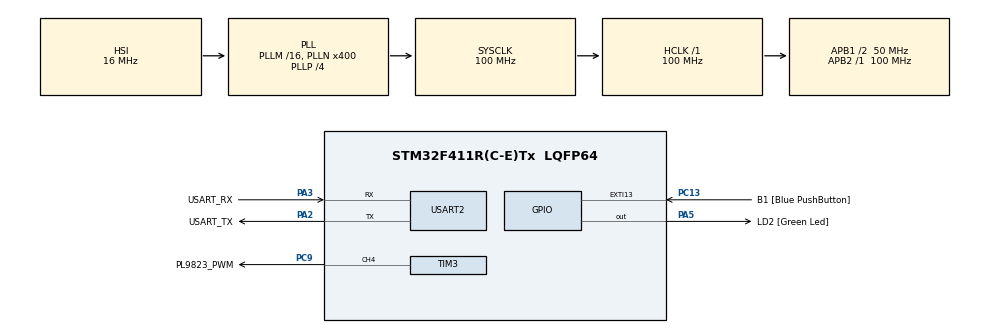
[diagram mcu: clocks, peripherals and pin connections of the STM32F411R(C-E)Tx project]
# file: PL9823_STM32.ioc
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Dma.Request0=TIM3_CH4/UP
Dma.TIM3_CH4/UP.0.Direction=DMA_MEMORY_TO_PERIPH
Dma.TIM3_CH4/UP.0.FIFOMode=DMA_FIFOMODE_DISABLE
Dma.TIM3_CH4/UP.0.Instance=DMA1_Stream2
Dma.TIM3_CH4/UP.0.MemDataAlignment=DMA_MDATAALIGN_HALFWORD
Dma.TIM3_CH4/UP.0.MemInc=DMA_MINC_ENABLE
Dma.TIM3_CH4/UP.0.Mode=DMA_NORMAL
Dma.TIM3_CH4/UP.0.PeriphDataAlignment=DMA_PDATAALIGN_HALFWORD
Dma.TIM3_CH4/UP.0.PeriphInc=DMA_PINC_DISABLE
Dma.TIM3_CH4/UP.0.Priority=DMA_PRIORITY_MEDIUM
Mcu.Family=STM32F4
Mcu.Name=STM32F411R(C-E)Tx
Mcu.Package=LQFP64
Mcu.UserConstants=PL9823_TIM_Clock,100000000;PL9823_T0H,0.00000035;PL9823_T1H,0.00000136;PL9823_RESET_TIME,0.000050;PL9823_PWM_PERIOD,(PL9823_TIM_Clock*(PL9823_T0H+PL9823_T1H))
NVIC.DMA1_Stream2_IRQn=true\:0\:0\:false\:false\:true
NVIC.PriorityGroup=NVIC_PRIORITYGROUP_0
PA13.GPIO_Label=TMS
PA13.Signal=SYS_JTMS-SWDIO
PA14.GPIO_Label=TCK
PA14.Signal=SYS_JTCK-SWCLK
PA2.GPIO_Label=USART_TX
PA2.Mode=Asynchronous
PA2.Signal=USART2_TX
PA3.GPIO_Label=USART_RX
PA3.Mode=Asynchronous
PA3.Signal=USART2_RX
PA5.GPIO_Label=LD2 [Green Led]
PA5.Signal=GPIO_Output
PB3.GPIO_Label=SWO
PB3.Signal=SYS_JTDO-SWO
PC13-ANTI_TAMP.GPIO_Label=B1 [Blue PushButton]
PC13-ANTI_TAMP.GPIO_ModeDefaultEXTI=GPIO_MODE_IT_FALLING
PC13-ANTI_TAMP.Signal=GPXTI13
PC14-OSC32_IN.Signal=RCC_OSC32_IN
PC15-OSC32_OUT.Signal=RCC_OSC32_OUT
PC9.GPIO_Label=PL9823_PWM
PC9.GPIO_ModeDefaultPP=GPIO_MODE_AF_OD
PC9.GPIO_Speed=GPIO_SPEED_FREQ_VERY_HIGH
PC9.Signal=S_TIM3_CH4
PH0\ -\ OSC_IN.Signal=RCC_OSC_IN
PH1\ -\ OSC_OUT.Signal=RCC_OSC_OUT
ProjectManager.HeapSize=0x200
ProjectManager.StackSize=0x400
ProjectManager.TargetToolchain=SW4STM32
RCC.48MHZClocksFreq_Value=100000000
RCC.AHBFreq_Value=100000000
RCC.APB1CLKDivider=RCC_HCLK_DIV2
RCC.APB1Freq_Value=50000000
RCC.APB1TimFreq_Value=100000000
RCC.APB2Freq_Value=100000000
RCC.APB2TimFreq_Value=100000000
RCC.CortexFreq_Value=100000000
RCC.FLatency-AdvancedSettings=FLASH_LATENCY_3
RCC.HCLKFreq_Value=100000000
RCC.HSE_VALUE=8000000
RCC.HSI_VALUE=16000000
RCC.LSE_VALUE=32768
RCC.PLLN=400
RCC.PLLP=RCC_PLLP_DIV4
RCC.PLLSourceVirtual=RCC_PLLSOURCE_HSI
RCC.SYSCLKFreq_VALUE=100000000
RCC.SYSCLKSource=RCC_SYSCLKSOURCE_PLLCLK
RCC.VCOOutputFreq_Value=400000000
SH.S_TIM3_CH4.0=TIM3_CH4,PWM Generation4 CH4
TIM3.Channel-PWM\ Generation4\ CH4=TIM_CHANNEL_4
TIM3.Period=PL9823_PWM_PERIOD
USART2.VirtualMode=VM_ASYNC
board=NUCLEO-F411RE

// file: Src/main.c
/**
  ******************************************************************************
  * File Name          : main.c
  * Description        : Main program body
  ******************************************************************************
  ** This notice applies to any and all portions of this file
  * that are not between comment pairs USER CODE BEGIN and
  * USER CODE END. Other portions of this file, whether
  * inserted by the user or by software development tools
  * are owned by their respective copyright owners.
  *
  * COPYRIGHT(c) 2017 STMicroelectronics
  *
  * Redistribution and use in source and binary forms, with or without modification,
  * are permitted provided that the following conditions are met:
  *   1. Redistributions of source code must retain the above copyright notice,
  *      this list of conditions and the following disclaimer.
  *   2. Redistributions in binary form must reproduce the above copyright notice,
  *      this list of conditions and the following disclaimer in the documentation
  *      and/or other materials provided with the distribution.
  *   3. Neither the name of STMicroelectronics nor the names of its contributors
  *      may be used to endorse or promote products derived from this software
  *      without specific prior written permission.
  *
  * THIS SOFTWARE IS PROVIDED BY THE COPYRIGHT HOLDERS AND CONTRIBUTORS "AS IS"
  * AND ANY EXPRESS OR IMPLIED WARRANTIES, INCLUDING, BUT NOT LIMITED TO, THE
  * IMPLIED WARRANTIES OF MERCHANTABILITY AND FITNESS FOR A PARTICULAR PURPOSE ARE
  * DISCLAIMED. IN NO EVENT SHALL THE COPYRIGHT HOLDER OR CONTRIBUTORS BE LIABLE
  * FOR ANY DIRECT, INDIRECT, INCIDENTAL, SPECIAL, EXEMPLARY, OR CONSEQUENTIAL
  * DAMAGES (INCLUDING, BUT NOT LIMITED TO, PROCUREMENT OF SUBSTITUTE GOODS OR
  * SERVICES; LOSS OF USE, DATA, OR PROFITS; OR BUSINESS INTERRUPTION) HOWEVER
  * CAUSED AND ON ANY THEORY OF LIABILITY, WHETHER IN CONTRACT, STRICT LIABILITY,
  * OR TORT (INCLUDING NEGLIGENCE OR OTHERWISE) ARISING IN ANY WAY OUT OF THE USE
  * OF THIS SOFTWARE, EVEN IF ADVISED OF THE POSSIBILITY OF SUCH DAMAGE.
  *
  ******************************************************************************
  */
#include "main.h"
#include "stm32f4xx_hal.h"
#include "dma.h"
#include "tim.h"
#include "usart.h"
#include "gpio.h"

/* USER CODE BEGIN Includes */
#include "math.h"
#include "PL9823.h"
/* USER CODE END Includes */

/* USER CODE BEGIN PV */
/* Private variables ---------------------------------------------------------*/

/* USER CODE END PV */

void SystemClock_Config(void);

/* USER CODE BEGIN PFP */
/* Private function prototypes -----------------------------------------------*/

/* USER CODE END PFP */

int main(void)
{

  /* MCU Configuration----------------------------------------------------------*/

  /* Reset of all peripherals, Initializes the Flash interface and the Systick. */
  HAL_Init();

  /* Configure the system clock */
  SystemClock_Config();

  /* Initialize all configured peripherals */
  MX_GPIO_Init();
  MX_DMA_Init();
  MX_USART2_UART_Init();
  MX_TIM3_Init();

  /* USER CODE BEGIN 2 */
    printf("\r\n***** Program start! *****\r\n");
    PL9823_init();

    PL9823_setColor(0, 0xFF, 0x00, 0x00);
    PL9823_startOutput();
    HAL_Delay(500);

    PL9823_setColor(0, 0x00, 0xFF, 0x00);
    PL9823_startOutput();
    HAL_Delay(500);

    PL9823_setColor(0, 0x00, 0x00, 0xFF);
    PL9823_startOutput();
    HAL_Delay(500);

    PL9823_setColor(0, 0xFF, 0xFF, 0xFF);
    PL9823_startOutput();
    HAL_Delay(500);
  /* USER CODE END 2 */

  /* Infinite loop */
  /* USER CODE BEGIN WHILE */
    while (1)
    {
        static float time = 0.0f;

        HAL_Delay(10);
        time += 0.01f;

        //PL9823_stopOutput();
        uint8_t col = 0xFF - (uint8_t)((float)0xFF * ((cosf(2.0f * M_PI * time) + 1.0f) / 2.0f));
        if(fmodf(time, 3.0f) < 1.0f)
        {
            PL9823_setColor(0,  col, 0x00, 0x00);
            PL9823_setColor(1, 0x00,  col, 0x00);
        }
        else if(fmodf(time, 3.0f) < 2.0f)
        {
            PL9823_setColor(0, 0x00,  col, 0x00);
            PL9823_setColor(1, 0x00, 0x00,  col);
        }
        else
        {
            PL9823_setColor(0, 0x00, 0x00,  col);
            PL9823_setColor(1,  col, 0x00, 0x00);
        }
        PL9823_startOutput();
  /* USER CODE END WHILE */

    }

}

/** System Clock Configuration
*/
void SystemClock_Config(void)
{

  RCC_OscInitTypeDef RCC_OscInitStruct;
  RCC_ClkInitTypeDef RCC_ClkInitStruct;

    /**Configure the main internal regulator output voltage
    */
  __HAL_RCC_PWR_CLK_ENABLE();

  __HAL_PWR_VOLTAGESCALING_CONFIG(PWR_REGULATOR_VOLTAGE_SCALE1);

    /**Initializes the CPU, AHB and APB busses clocks
    */
  RCC_OscInitStruct.OscillatorType = RCC_OSCILLATORTYPE_HSI;
  RCC_OscInitStruct.HSIState = RCC_HSI_ON;
  RCC_OscInitStruct.HSICalibrationValue = 16;
  RCC_OscInitStruct.PLL.PLLState = RCC_PLL_ON;
  RCC_OscInitStruct.PLL.PLLSource = RCC_PLLSOURCE_HSI;
  RCC_OscInitStruct.PLL.PLLM = 16;
  RCC_OscInitStruct.PLL.PLLN = 400;
  RCC_OscInitStruct.PLL.PLLP = RCC_PLLP_DIV4;
  RCC_OscInitStruct.PLL.PLLQ = 4;
  if (HAL_RCC_OscConfig(&RCC_OscInitStruct) != HAL_OK)
  {
    _Error_Handler(__FILE__, __LINE__);
  }

    /**Initializes the CPU, AHB and APB busses clocks
    */
  RCC_ClkInitStruct.ClockType = RCC_CLOCKTYPE_HCLK|RCC_CLOCKTYPE_SYSCLK
                              |RCC_CLOCKTYPE_PCLK1|RCC_CLOCKTYPE_PCLK2;
  RCC_ClkInitStruct.SYSCLKSource = RCC_SYSCLKSOURCE_PLLCLK;
  RCC_ClkInitStruct.AHBCLKDivider = RCC_SYSCLK_DIV1;
  RCC_ClkInitStruct.APB1CLKDivider = RCC_HCLK_DIV2;
  RCC_ClkInitStruct.APB2CLKDivider = RCC_HCLK_DIV1;

  if (HAL_RCC_ClockConfig(&RCC_ClkInitStruct, FLASH_LATENCY_3) != HAL_OK)
  {
    _Error_Handler(__FILE__, __LINE__);
  }

    /**Configure the Systick interrupt time
    */
  HAL_SYSTICK_Config(HAL_RCC_GetHCLKFreq()/1000);

    /**Configure the Systick
    */
  HAL_SYSTICK_CLKSourceConfig(SYSTICK_CLKSOURCE_HCLK);

  /* SysTick_IRQn interrupt configuration */
  HAL_NVIC_SetPriority(SysTick_IRQn, 0, 0);
}

/* USER CODE BEGIN 4 */

/**
 * @brief  Retargets the C library printf function to the USART.
 * @param  None
 * @retval None
 */
int _write(int file, char *ptr, int len)
{
    HAL_UART_Transmit(&huart2, (uint8_t *)ptr, (uint16_t)len, 0xFFFFFFFF);
    return len;
}
/* USER CODE END 4 */

void _Error_Handler(char * file, int line)
{
  while(1)
  {
  }
}

/************************ (C) COPYRIGHT STMicroelectronics *****END OF FILE****/
